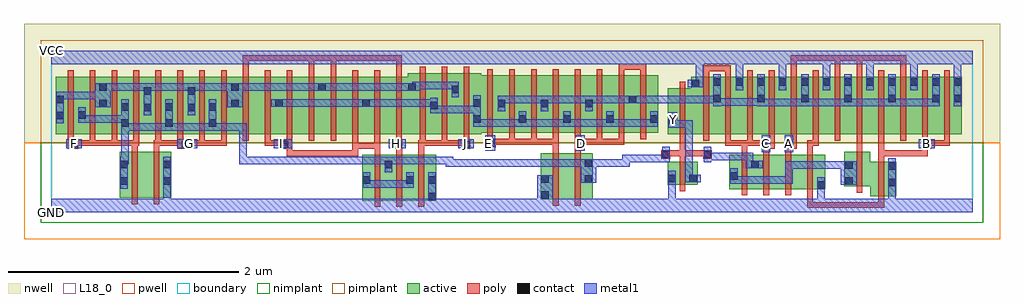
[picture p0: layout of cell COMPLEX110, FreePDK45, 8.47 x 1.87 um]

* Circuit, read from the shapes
.subckt COMPLEX110 A B C D E F G GND H I J VCC Y
M1 n1 F n2 VSUBS nfet w=0.4u l=0.05u
M2 GND G n1 VSUBS nfet w=0.4u l=0.05u
M3 n2 I n3 VSUBS nfet w=0.4u l=0.05u
M4 n3 H n2 VSUBS nfet w=0.4u l=0.05u
M5 GND J n3 VSUBS nfet w=0.4u l=0.05u
M6 n4 E GND VSUBS nfet w=0.4u l=0.05u
M7 n2 D n4 VSUBS nfet w=0.4u l=0.05u
M8 Y n2 GND VSUBS nfet w=0.2u l=0.05u
M9 n2 C n5 VSUBS nfet w=0.3u l=0.05u
M10 n6 C n2 VSUBS nfet w=0.3u l=0.05u
M11 n7 A n6 VSUBS nfet w=0.3u l=0.05u
M12 GND B n7 VSUBS nfet w=0.3u l=0.05u
M13 n8 A n5 VSUBS nfet w=0.3u l=0.05u
M14 GND B n8 VSUBS nfet w=0.3u l=0.05u
M15 n2 F n9 n10 pfet w=0.5u l=0.05u m=4
M16 n2 G n9 n10 pfet w=0.5u l=0.05u m=4
M17 n11 H n9 n10 pfet w=0.5u l=0.05u
M18 n12 I n11 n10 pfet w=0.5u l=0.05u
M19 n13 I n12 n10 pfet w=0.5u l=0.05u
M20 n9 H n13 n10 pfet w=0.5u l=0.05u
M21 n14 H n9 n10 pfet w=0.5u l=0.05u
M22 n12 I n14 n10 pfet w=0.5u l=0.05u
M23 n15 I n12 n10 pfet w=0.5u l=0.05u
M24 n9 H n15 n10 pfet w=0.5u l=0.05u
M25 n12 J n9 n10 pfet w=0.532u l=0.05u m=3
M26 n16 E n12 n10 pfet w=0.5u l=0.05u m=4
M27 n16 D n12 n10 pfet w=0.5u l=0.05u m=4
M28 VCC n2 Y n10 pfet w=0.4u l=0.05u
M29 n16 C VCC n10 pfet w=0.5u l=0.05u m=4
M30 n16 A VCC n10 pfet w=0.5u l=0.05u m=4
M31 VCC B n16 n10 pfet w=0.5u l=0.05u m=4
.ends

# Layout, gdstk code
import gdstk
lib = gdstk.Library(unit=1e-6, precision=1e-09)
def R(c, l, rs):  # rectangles x0, y0, x1, y1
    for r in rs: c.add(gdstk.rectangle(r[:2], r[2:], *l))
def A(c, l, x, y, w, h, nx, ny, dx, dy):  # array of equal rectangles
    R(c, l, [(x+i*dx, y+j*dy, x+i*dx+w, y+j*dy+h) for i in range(nx) for j in range(ny)])
active = (1, 0)
pwell = (2, 0)
nwell = (3, 0)
nimplant = (4, 0)
pimplant = (5, 0)
poly = (9, 0)
contact = (10, 0)
metal1 = (11, 0)
L18_0 = (18, 0)
boundary = (235, 0)

complex110 = lib.new_cell('COMPLEX110')
A(complex110, active, 0.605, 0.675, 0.27, 0.5, 3, 1, 0.38, 0)
A(complex110, active, 0.605, 0.675, 0.075, 0.395, 3, 1, 0.38, 0)
A(complex110, active, 6.69, 0.675, 0.265, 0.5, 6, 1, 0.19, 0)
A(complex110, active, 6.88, 0.675, 0.075, 0.49, 4, 1, 0.19, 0)
R(complex110, active, [(2.702,0.1,2.967,0.5), (2.892,0.1,3.152,0.5), (3.077,0.1,3.342,0.5), (3.267,0.1,3.342,0.5), (4.25,0.112,4.475,0.512), (4.25,0.112,4.325,0.512), (4.475,0.112,4.7,0.512), (0.595,0.125,0.82,0.525), (0.82,0.125,1.045,0.525), (0.97,0.125,1.045,0.525), (7.11,0.137,7.335,0.437), (7.26,0.137,7.335,0.437), (0.595,0.147,0.7,0.525), (2.702,0.147,2.777,0.5), (2.892,0.147,2.967,0.492), (3.077,0.147,3.152,0.492), (4.625,0.147,4.7,0.512), (5.887,0.2,5.962,0.5), (5.887,0.2,6.147,0.5), (6.072,0.2,6.302,0.5), (6.302,0.2,6.492,0.5), (6.492,0.2,6.717,0.5), (6.642,0.2,6.717,0.5), (6.885,0.225,6.96,0.525), (6.885,0.225,7.11,0.525), (5.35,0.237,5.425,0.437), (5.35,0.237,5.61,0.437), (5.535,0.237,5.61,0.437), (6.072,0.247,6.147,0.452), (0.04,0.675,0.115,1.175), (0.04,0.675,0.305,1.175), (0.23,0.675,0.49,1.175), (0.23,0.675,0.305,1.07), (0.415,0.675,0.68,1.175), (0.415,0.675,0.49,1.157), (0.8,0.675,0.875,1.175), (0.8,0.675,1.06,1.175), (1.18,0.675,1.255,1.175), (1.18,0.675,1.44,1.175), (1.56,0.675,1.785,1.175), (1.56,0.675,1.635,1.157), (1.785,0.675,2.015,1.175), (1.94,0.675,2.015,1.07), (1.94,0.675,2.165,1.175), (2.165,0.675,2.39,1.175), (2.315,0.675,2.39,1.175), (2.315,0.675,2.545,1.175), (2.545,0.675,2.77,1.175), (2.695,0.675,2.77,1.07), (2.695,0.675,2.925,1.175), (2.925,0.675,3.17,1.175), (3.095,0.675,3.36,1.207), (3.285,0.675,3.545,1.207), (3.285,0.675,3.36,1.07), (3.47,0.675,3.735,1.207), (3.47,0.675,3.545,1.19), (5.35,0.675,5.63,1.075), (5.35,0.675,5.425,1.057), (5.555,0.675,5.63,1.175), (5.555,0.675,5.815,1.175), (5.74,0.675,5.815,1.165), (5.74,0.675,6.01,1.175), (5.935,0.675,6.2,1.175), (5.935,0.675,6.01,1.165), (6.125,0.675,6.2,1.165), (6.125,0.675,6.385,1.175), (6.31,0.675,6.385,1.165), (6.31,0.675,6.58,1.175), (6.505,0.675,6.58,1.165), (6.505,0.675,6.765,1.175), (6.69,0.675,6.765,1.175), (7.64,0.675,7.715,1.175), (7.83,0.675,7.905,1.175), (3.66,0.687,3.945,1.187), (3.66,0.687,3.735,1.2), (3.87,0.687,4.13,1.187), (3.87,0.687,3.945,1.157), (4.055,0.687,4.32,1.187), (4.055,0.687,4.13,1.07), (4.245,0.687,4.515,1.187), (4.245,0.687,4.32,1.157), (4.44,0.687,4.705,1.187), (4.44,0.687,4.515,1.07), (4.63,0.687,4.89,1.187), (4.815,0.687,5.085,1.187), (4.815,0.687,4.89,1.07), (5.01,0.687,5.27,1.187), (5.01,0.687,5.085,1.157), (5.195,0.687,5.27,1.07), (4.63,0.802,4.705,1.187), (3.095,0.807,3.17,1.2)])
R(complex110, pwell, [(-0.235,-0.235,8.235,0.602)])
R(complex110, nwell, [(-0.235,0.602,8.235,1.635)])
R(complex110, nimplant, [(-0.09,-0.09,8.09,0.602)])
R(complex110, pimplant, [(-0.09,0.602,8.09,1.49)])
A(complex110, poly, 2.807, 0.045, 0.05, 0.51, 3, 1, 0.19, 0)
A(complex110, poly, 5.992, 0.145, 0.05, 0.41, 4, 1, 0.19, 0)
A(complex110, poly, 0.145, 0.575, 0.05, 0.095, 8, 1, 0.19, 0)
A(complex110, poly, 3.2, 0.575, 0.05, 0.095, 3, 1, 0.19, 0)
A(complex110, poly, 5.85, 0.575, 0.05, 0.095, 5, 1, 0.19, 0)
A(complex110, poly, 3.785, 0.587, 0.05, 0.095, 7, 1, 0.19, 0)
A(complex110, poly, 0.145, 0.62, 0.05, 0.61, 16, 1, 0.19, 0)
A(complex110, poly, 3.2, 0.62, 0.05, 0.642, 3, 1, 0.19, 0)
A(complex110, poly, 5.66, 0.62, 0.05, 0.61, 12, 1, 0.19, 0)
A(complex110, poly, 3.785, 0.632, 0.05, 0.61, 8, 1, 0.19, 0)
A(complex110, poly, 6.42, 1.312, 0.24, 0.05, 5, 1, 0.19, 0)
A(complex110, poly, 6.99, 1.312, 0.05, 0.05, 3, 1, 0.19, 0)
R(complex110, poly, [(6.562,0.037,6.612,0.087), (6.562,0.037,6.612,0.087), (6.562,0.037,6.612,0.087), (6.562,0.037,6.792,0.087), (6.562,0.037,6.612,0.195), (6.742,0.037,6.792,0.087), (6.742,0.037,6.792,0.087), (6.742,0.037,6.792,0.087), (6.742,0.037,7.097,0.087), (7.047,0.037,7.097,0.087), (7.047,0.037,7.23,0.087), (7.18,0.037,7.23,0.132), (7.18,0.037,7.23,0.087), (7.18,0.037,7.23,0.087), (7.18,0.037,7.23,0.087), (4.355,0.057,4.405,0.567), (4.545,0.057,4.595,0.567), (0.7,0.07,0.75,0.58), (0.89,0.07,0.94,0.58), (7.18,0.082,7.23,0.492), (6.99,0.17,7.04,0.58), (5.455,0.182,5.505,0.492), (5.455,0.442,5.505,0.537), (7.18,0.442,7.23,0.537), (5.297,0.462,5.372,0.537), (5.66,0.462,5.735,0.537), (2.045,0.487,2.095,0.6), (2.045,0.487,2.342,0.537), (2.292,0.487,2.342,0.537), (2.292,0.487,2.532,0.537), (2.482,0.487,2.532,0.537), (2.482,0.487,2.532,0.537), (2.482,0.487,2.532,0.537), (2.482,0.487,2.665,0.537), (2.615,0.487,2.665,0.6), (5.322,0.487,5.372,0.537), (5.322,0.487,5.372,0.537), (5.322,0.487,5.505,0.537), (5.455,0.487,5.505,0.537), (5.455,0.487,5.505,0.537), (5.455,0.487,5.505,0.537), (5.455,0.487,5.505,0.67), (5.455,0.487,5.71,0.537), (5.66,0.487,5.71,0.537), (5.66,0.487,5.71,0.537), (7.18,0.487,7.23,0.537), (7.18,0.487,7.477,0.537), (7.18,0.487,7.23,0.67), (7.427,0.487,7.477,0.537), (7.427,0.487,7.477,0.537), (7.427,0.487,7.477,0.537), (7.427,0.487,7.61,0.537), (7.56,0.487,7.61,0.6), (2.807,0.505,2.857,0.6), (2.997,0.505,3.047,0.6), (3.187,0.505,3.237,0.625), (5.992,0.505,6.042,0.625), (6.182,0.505,6.232,0.6), (6.372,0.505,6.422,0.6), (6.562,0.505,6.612,0.625), (4.355,0.517,4.405,0.637), (4.545,0.517,4.595,0.612), (0.7,0.53,0.75,0.625), (0.89,0.53,0.94,0.625), (6.99,0.53,7.04,0.625), (0.145,0.55,0.237,0.625), (1.095,0.55,1.202,0.625), (1.987,0.55,2.095,0.625), (2.045,0.55,2.095,0.6), (2.615,0.55,2.665,0.6), (2.615,0.55,2.665,0.6), (2.615,0.55,2.855,0.6), (2.615,0.55,2.665,0.67), (2.805,0.55,2.855,0.6), (2.805,0.55,2.855,0.6), (2.805,0.55,2.855,0.67), (2.805,0.55,2.857,0.6), (2.972,0.55,3.047,0.625), (3.562,0.55,3.637,0.625), (6.172,0.55,6.28,0.625), (6.372,0.55,6.47,0.625), (7.56,0.55,7.61,0.6), (7.56,0.55,7.637,0.625), (3.785,0.562,3.86,0.637), (4.545,0.562,4.622,0.637), (0.187,0.575,0.385,0.625), (0.335,0.575,0.385,0.625), (0.335,0.575,0.385,0.625), (0.335,0.575,0.385,0.625), (0.335,0.575,0.575,0.625), (0.525,0.575,0.575,0.625), (0.525,0.575,0.575,0.625), (0.525,0.575,0.575,0.625), (0.525,0.575,0.75,0.625), (0.7,0.575,0.75,0.625), (0.7,0.575,0.75,0.625), (0.7,0.575,0.765,0.625), (0.89,0.575,0.955,0.625), (0.905,0.575,0.955,0.625), (0.905,0.575,0.955,0.625), (0.905,0.575,1.145,0.625), (1.152,0.575,1.335,0.625), (1.285,0.575,1.335,0.625), (1.285,0.575,1.335,0.625), (1.285,0.575,1.335,0.625), (1.285,0.575,1.525,0.625), (1.475,0.575,1.525,0.625), (1.475,0.575,1.525,0.625), (1.475,0.575,1.525,0.625), (1.855,0.575,1.905,0.67), (1.855,0.575,1.905,0.625), (1.855,0.575,1.905,0.625), (1.855,0.575,1.905,0.625), (1.855,0.575,2.037,0.625), (2.045,0.575,2.095,0.67), (2.995,0.575,3.045,0.67), (3.187,0.575,3.25,0.625), (3.2,0.575,3.44,0.625), (3.39,0.575,3.44,0.625), (3.39,0.575,3.44,0.625), (3.39,0.575,3.44,0.625), (3.39,0.575,3.612,0.625), (3.562,0.575,3.612,0.625), (3.562,0.575,3.612,0.625), (5.85,0.575,5.9,0.625), (5.85,0.575,6.042,0.625), (5.992,0.575,6.042,0.625), (5.992,0.575,6.042,0.625), (5.992,0.575,6.09,0.625), (6.04,0.575,6.222,0.625), (6.172,0.575,6.222,0.625), (6.172,0.575,6.222,0.625), (6.562,0.575,6.66,0.625), (6.99,0.575,7.04,0.67), (6.99,0.575,7.04,0.625), (7.56,0.575,7.61,0.67), (7.587,0.575,7.8,0.625), (7.75,0.575,7.8,0.67), (7.75,0.575,7.8,0.625), (7.75,0.575,7.8,0.625), (7.75,0.575,7.8,0.625), (3.81,0.587,4.025,0.637), (3.975,0.587,4.025,0.637), (3.975,0.587,4.025,0.637), (3.975,0.587,4.025,0.637), (3.975,0.587,4.215,0.637), (4.165,0.587,4.215,0.637), (4.165,0.587,4.215,0.637), (4.165,0.587,4.215,0.637), (4.165,0.587,4.405,0.637), (4.355,0.587,4.405,0.637), (4.355,0.587,4.405,0.637), (4.355,0.587,4.405,0.637), (4.572,0.587,4.785,0.637), (4.735,0.587,4.785,0.637), (4.735,0.587,4.785,0.637), (4.735,0.587,4.785,0.637), (4.735,0.587,4.975,0.637), (4.925,0.587,4.975,0.637), (4.925,0.587,4.975,0.637), (4.925,0.587,4.975,0.637), (5.455,0.62,5.505,1.13), (1.665,1.18,1.715,1.362), (2.235,1.18,2.285,1.362), (2.425,1.18,2.475,1.362), (2.995,1.18,3.045,1.362), (5.66,1.18,5.71,1.275), (5.85,1.18,5.9,1.275), (6.42,1.18,6.47,1.362), (6.8,1.18,6.85,1.362), (6.99,1.18,7.04,1.362), (7.37,1.18,7.42,1.362), (4.925,1.192,4.975,1.287), (5.115,1.192,5.165,1.287), (5.66,1.225,5.71,1.275), (5.66,1.225,5.9,1.275), (5.85,1.225,5.9,1.275), (5.85,1.225,5.9,1.275), (5.85,1.225,5.9,1.275), (4.925,1.237,4.975,1.287), (4.925,1.237,5.165,1.287), (5.115,1.237,5.165,1.287), (5.115,1.237,5.165,1.287), (5.115,1.237,5.165,1.287), (1.665,1.312,1.715,1.362), (1.665,1.312,1.715,1.362), (1.665,1.312,1.715,1.362), (1.665,1.312,1.905,1.362), (1.855,1.312,1.905,1.362), (1.855,1.312,1.905,1.362), (1.855,1.312,1.905,1.362), (1.855,1.312,2.037,1.362), (1.987,1.312,2.037,1.362), (1.987,1.312,2.285,1.362), (2.235,1.312,2.285,1.362), (2.235,1.312,2.285,1.362), (2.235,1.312,2.285,1.362), (2.235,1.312,2.475,1.362), (2.425,1.312,2.475,1.362), (2.425,1.312,2.475,1.362), (2.425,1.312,2.475,1.362), (2.425,1.312,2.722,1.362), (2.672,1.312,2.722,1.362), (2.672,1.312,2.722,1.362), (2.672,1.312,2.722,1.362), (2.672,1.312,2.89,1.362), (2.84,1.312,2.89,1.362), (2.84,1.312,2.89,1.362), (2.84,1.312,2.89,1.362), (2.84,1.312,3.045,1.362), (2.995,1.312,3.045,1.362), (2.995,1.312,3.045,1.362), (2.995,1.312,3.045,1.362), (6.42,1.312,6.47,1.362), (6.42,1.312,6.47,1.362), (6.42,1.312,6.47,1.362), (6.61,1.312,6.66,1.362), (6.61,1.312,6.66,1.362), (6.61,1.312,6.66,1.362), (6.8,1.312,6.85,1.362), (6.8,1.312,6.85,1.362), (6.8,1.312,6.85,1.362), (6.99,1.312,7.04,1.362), (6.99,1.312,7.04,1.362), (7.37,1.312,7.42,1.362), (7.37,1.312,7.42,1.362)])
A(complex110, contact, 0.61, 0.74, 0.065, 0.065, 3, 2, 0.38, 0.14)
A(complex110, contact, 6.885, 0.955, 0.065, 0.065, 3, 1, 0.38, 0)
A(complex110, contact, 6.695, 1.095, 0.065, 0.065, 7, 1, 0.19, 0)
R(complex110, contact, [(3.272,0.105,3.337,0.17), (4.255,0.117,4.32,0.182), (6.647,0.205,6.712,0.27), (7.265,0.227,7.33,0.292), (6.89,0.237,6.955,0.302), (0.6,0.24,0.665,0.305), (0.975,0.24,1.04,0.305), (2.707,0.245,2.772,0.31), (3.082,0.245,3.147,0.31), (3.272,0.245,3.337,0.31), (4.63,0.255,4.695,0.32), (4.255,0.257,4.32,0.322), (5.355,0.26,5.42,0.325), (5.54,0.26,5.605,0.325), (5.892,0.28,5.957,0.345), (7.265,0.367,7.33,0.432), (6.89,0.377,6.955,0.442), (0.6,0.38,0.665,0.445), (0.975,0.38,1.04,0.445), (2.897,0.382,2.962,0.447), (6.077,0.382,6.142,0.447), (4.63,0.395,4.695,0.46), (5.302,0.467,5.367,0.532), (5.665,0.467,5.73,0.532), (0.167,0.555,0.232,0.62), (1.132,0.555,1.197,0.62), (1.992,0.555,2.057,0.62), (2.977,0.555,3.042,0.62), (3.567,0.555,3.632,0.62), (6.177,0.555,6.242,0.62), (6.377,0.555,6.442,0.62), (7.567,0.555,7.632,0.62), (3.79,0.567,3.855,0.632), (4.552,0.567,4.617,0.632), (5.355,0.767,5.42,0.832), (3.665,0.775,3.73,0.84), (4.06,0.775,4.125,0.84), (4.445,0.775,4.51,0.84), (4.82,0.775,4.885,0.84), (5.2,0.775,5.265,0.84), (0.045,0.807,0.11,0.872), (0.235,0.81,0.3,0.875), (0.805,0.877,0.87,0.942), (1.185,0.877,1.25,0.942), (3.29,0.895,3.355,0.96), (0.42,0.912,0.485,0.977), (1.565,0.912,1.63,0.977), (3.875,0.912,3.94,0.977), (4.25,0.912,4.315,0.977), (4.635,0.912,4.7,0.977), (1.945,0.915,2.01,0.98), (2.7,0.915,2.765,0.98), (3.665,0.915,3.73,0.98), (0.045,0.947,0.11,1.012), (5.015,0.947,5.08,1.012), (5.745,0.955,5.81,1.02), (6.13,0.955,6.195,1.02), (6.51,0.955,6.575,1.02), (7.835,0.955,7.9,1.02), (0.805,1.017,0.87,1.082), (1.185,1.017,1.25,1.082), (3.475,1.032,3.54,1.097), (0.42,1.052,0.485,1.117), (1.565,1.052,1.63,1.117), (2.32,1.052,2.385,1.117), (3.1,1.052,3.165,1.117), (5.56,1.085,5.625,1.15), (5.745,1.095,5.81,1.16), (5.94,1.095,6.005,1.16), (6.13,1.095,6.195,1.16), (6.315,1.095,6.38,1.16), (6.51,1.095,6.575,1.16)])
A(complex110, metal1, 0.61, 0.705, 0.065, 0.275, 3, 1, 0.38, 0)
A(complex110, metal1, 6.885, 0.92, 0.065, 0.275, 3, 1, 0.38, 0)
A(complex110, metal1, 6.315, 1.06, 0.065, 0.135, 4, 1, 0.38, 0)
A(complex110, metal1, 6.315, 1.13, 0.065, 0.22, 5, 1, 0.38, 0)
R(complex110, metal1, [(0,0,8,0.115), (0.975,0.05,1.04,0.27), (3.272,0.05,3.337,0.135), (4.29,0.05,4.355,0.182), (5.355,0.05,5.42,0.115), (5.355,0.05,5.42,0.115), (5.355,0.05,5.42,0.29), (6.647,0.05,6.712,0.115), (6.647,0.05,6.712,0.115), (6.647,0.05,6.712,0.235), (7.265,0.05,7.33,0.115), (7.265,0.05,7.33,0.115), (7.265,0.05,7.33,0.257), (3.272,0.07,3.337,0.345), (4.22,0.117,4.355,0.322), (6.647,0.17,6.712,0.305), (7.265,0.192,7.33,0.467), (0.6,0.205,0.665,0.48), (0.975,0.205,1.04,0.48), (2.707,0.21,2.772,0.275), (2.707,0.21,2.772,0.275), (2.707,0.21,2.772,0.345), (2.707,0.21,2.975,0.275), (2.91,0.21,2.975,0.275), (2.91,0.21,2.975,0.275), (2.91,0.21,2.975,0.275), (2.91,0.21,3.147,0.275), (3.082,0.21,3.147,0.345), (5.355,0.225,5.42,0.29), (5.355,0.225,5.42,0.29), (5.355,0.225,5.42,0.29), (5.355,0.225,5.42,0.29), (5.355,0.225,5.42,0.36), (6.855,0.237,6.99,0.442), (5.892,0.245,6.095,0.31), (5.892,0.245,5.957,0.38), (6.03,0.245,6.095,0.31), (6.03,0.245,6.242,0.31), (6.177,0.245,6.242,0.31), (6.177,0.245,6.242,0.31), (6.177,0.245,6.242,0.31), (6.177,0.245,6.437,0.31), (6.372,0.245,6.437,0.442), (4.595,0.255,4.73,0.46), (5.505,0.26,5.57,0.325), (5.505,0.26,5.57,0.325), (5.505,0.26,5.64,0.325), (5.505,0.26,5.57,0.797), (2.897,0.347,2.962,0.482), (6.372,0.377,6.437,0.442), (6.372,0.377,6.437,0.442), (6.372,0.377,6.575,0.442), (6.51,0.377,6.575,0.442), (6.51,0.377,6.575,0.442), (6.51,0.377,6.575,0.442), (6.51,0.377,6.782,0.442), (6.717,0.377,6.782,0.442), (6.717,0.377,6.92,0.442), (6.855,0.377,6.92,0.442), (6.855,0.377,6.92,0.442), (6.03,0.382,6.095,0.517), (6.03,0.382,6.177,0.447), (3.427,0.395,3.63,0.46), (3.427,0.395,3.492,0.482), (3.565,0.395,3.63,0.46), (3.565,0.395,3.63,0.46), (3.565,0.395,3.63,0.46), (3.565,0.395,3.867,0.46), (3.802,0.395,3.867,0.46), (3.802,0.395,3.867,0.46), (3.802,0.395,3.867,0.46), (3.802,0.395,4.125,0.46), (4.06,0.395,4.125,0.46), (4.06,0.395,4.125,0.46), (4.06,0.395,4.125,0.46), (4.06,0.395,4.315,0.46), (4.25,0.395,4.315,0.46), (4.25,0.395,4.315,0.46), (4.25,0.395,4.315,0.46), (4.25,0.395,4.452,0.46), (4.387,0.395,4.452,0.46), (4.387,0.395,4.452,0.46), (4.387,0.395,4.452,0.46), (4.387,0.395,4.66,0.46), (4.665,0.395,4.73,0.46), (4.665,0.395,4.73,0.46), (4.665,0.395,4.867,0.46), (4.802,0.395,4.867,0.46), (4.802,0.395,4.867,0.46), (4.802,0.395,4.867,0.46), (4.802,0.395,5.022,0.46), (4.957,0.395,5.022,0.46), (4.957,0.395,5.022,0.497), (0.6,0.415,0.665,0.48), (0.6,0.415,0.665,0.48), (0.6,0.415,0.665,0.48), (0.6,0.415,0.675,0.48), (0.61,0.415,0.675,0.77), (1.635,0.417,1.7,0.482), (1.635,0.417,1.7,0.482), (1.635,0.417,1.7,0.482), (1.635,0.417,1.7,0.482), (1.635,0.417,1.7,0.482), (1.635,0.417,1.837,0.482), (1.635,0.417,1.7,0.77), (1.772,0.417,1.837,0.482), (1.772,0.417,1.837,0.482), (1.772,0.417,1.837,0.482), (1.772,0.417,2.045,0.482), (1.98,0.417,2.045,0.482), (1.98,0.417,2.045,0.482), (1.98,0.417,2.045,0.482), (1.98,0.417,2.192,0.482), (2.127,0.417,2.192,0.482), (2.127,0.417,2.192,0.482), (2.127,0.417,2.192,0.482), (2.127,0.417,2.43,0.482), (2.365,0.417,2.43,0.482), (2.365,0.417,2.43,0.482), (2.365,0.417,2.43,0.482), (2.365,0.417,2.567,0.482), (2.502,0.417,2.567,0.482), (2.502,0.417,2.567,0.482), (2.502,0.417,2.567,0.482), (2.502,0.417,2.705,0.482), (2.64,0.417,2.705,0.482), (2.64,0.417,2.705,0.482), (2.64,0.417,2.705,0.482), (2.64,0.417,2.962,0.482), (2.897,0.417,2.962,0.482), (2.897,0.417,2.962,0.482), (2.897,0.417,3.2,0.482), (3.135,0.417,3.2,0.482), (3.135,0.417,3.2,0.482), (3.135,0.417,3.2,0.482), (3.135,0.417,3.337,0.482), (3.272,0.417,3.337,0.482), (3.272,0.417,3.337,0.482), (3.272,0.417,3.337,0.482), (3.272,0.417,3.492,0.482), (3.427,0.417,3.492,0.482), (3.427,0.417,3.492,0.482), (4.957,0.432,5.022,0.497), (4.957,0.432,5.367,0.497), (5.302,0.432,5.367,0.567), (5.665,0.432,5.73,0.567), (5.665,0.452,5.73,0.517), (5.665,0.452,5.73,0.517), (5.665,0.452,5.957,0.517), (5.892,0.452,5.957,0.517), (5.892,0.452,5.957,0.517), (5.892,0.452,5.957,0.517), (5.892,0.452,6.095,0.517), (6.03,0.452,6.095,0.517), (6.03,0.452,6.095,0.517), (6.03,0.452,6.095,0.517), (6.167,0.52,6.242,0.667), (6.367,0.52,6.442,0.667), (3.767,0.532,3.855,0.667), (4.552,0.532,4.632,0.667), (0.132,0.555,0.267,0.632), (1.097,0.555,1.267,0.632), (1.932,0.555,2.092,0.632), (2.932,0.555,3.077,0.632), (3.532,0.555,3.667,0.632), (7.532,0.555,7.667,0.632), (0.61,0.705,0.675,0.77), (0.61,0.705,0.675,0.77), (0.61,0.705,0.675,0.77), (0.61,0.705,0.675,0.77), (0.61,0.705,0.812,0.77), (0.747,0.705,0.812,0.77), (0.747,0.705,0.812,0.77), (0.747,0.705,0.812,0.77), (0.747,0.705,1.055,0.77), (0.99,0.705,1.192,0.77), (1.127,0.705,1.192,0.77), (1.127,0.705,1.192,0.77), (1.127,0.705,1.192,0.77), (1.127,0.705,1.425,0.77), (1.36,0.705,1.425,0.77), (1.36,0.705,1.435,0.77), (1.37,0.705,1.562,0.77), (1.497,0.705,1.562,0.77), (1.497,0.705,1.7,0.77), (1.635,0.705,1.7,0.77), (1.635,0.705,1.7,0.77), (1.635,0.705,1.7,0.77), (1.635,0.705,1.7,0.77), (1.635,0.705,1.7,0.77), (5.355,0.732,5.432,0.867), (5.367,0.732,5.57,0.797), (5.505,0.732,5.57,0.797), (5.505,0.732,5.57,0.797), (5.505,0.732,5.57,0.797), (5.505,0.732,5.57,0.797), (5.505,0.732,5.57,0.797), (3.665,0.74,3.73,0.805), (3.665,0.74,3.73,0.805), (3.665,0.74,3.73,1.015), (3.665,0.74,3.987,0.805), (3.922,0.74,3.987,0.805), (3.922,0.74,3.987,0.805), (3.922,0.74,3.987,0.805), (3.922,0.74,4.125,0.805), (4.06,0.74,4.125,0.805), (4.06,0.74,4.125,0.805), (4.06,0.74,4.125,0.875), (4.06,0.74,4.262,0.805), (4.197,0.74,4.262,0.805), (4.197,0.74,4.262,0.805), (4.197,0.74,4.262,0.805), (4.197,0.74,4.51,0.805), (4.445,0.74,4.51,0.805), (4.445,0.74,4.51,0.805), (4.445,0.74,4.51,0.875), (4.445,0.74,4.66,0.805), (4.595,0.74,4.66,0.805), (4.595,0.74,4.66,0.805), (4.595,0.74,4.66,0.805), (4.595,0.74,4.885,0.805), (4.82,0.74,4.885,0.805), (4.82,0.74,4.885,0.805), (4.82,0.74,4.885,0.875), (4.82,0.74,5.127,0.805), (5.062,0.74,5.127,0.805), (5.062,0.74,5.127,0.805), (5.062,0.74,5.127,0.805), (5.062,0.74,5.265,0.805), (5.2,0.74,5.265,0.875), (0.045,0.772,0.11,1.047), (0.235,0.775,0.3,0.84), (0.235,0.775,0.3,0.84), (0.235,0.775,0.3,0.91), (0.235,0.775,0.45,0.84), (0.385,0.775,0.45,0.84), (0.385,0.775,0.45,0.84), (0.385,0.775,0.45,0.84), (0.385,0.775,0.675,0.84), (0.805,0.842,0.87,1.117), (1.185,0.842,1.25,1.117), (3.29,0.86,3.355,0.925), (3.29,0.86,3.355,0.925), (3.29,0.86,3.355,0.995), (3.29,0.86,3.492,0.925), (3.427,0.86,3.492,0.925), (3.427,0.86,3.492,0.925), (3.427,0.86,3.492,0.925), (3.427,0.86,3.73,0.925), (3.875,0.877,3.94,1.012), (4.25,0.877,4.315,1.012), (4.635,0.877,4.7,1.012), (0.385,0.912,0.52,1.117), (1.53,0.912,1.665,1.117), (1.91,0.915,2.045,0.98), (1.98,0.915,2.045,0.98), (1.98,0.915,2.045,0.98), (1.98,0.915,2.182,0.98), (2.117,0.915,2.182,0.98), (2.117,0.915,2.182,0.98), (2.117,0.915,2.182,0.98), (2.117,0.915,2.33,0.98), (2.265,0.915,2.33,0.98), (2.265,0.915,2.33,0.98), (2.265,0.915,2.33,0.98), (2.265,0.915,2.567,0.98), (2.502,0.915,2.567,0.98), (2.502,0.915,2.567,0.98), (2.502,0.915,2.567,0.98), (2.502,0.915,2.73,0.98), (2.665,0.915,2.8,0.98), (2.735,0.915,2.8,0.98), (2.735,0.915,2.8,0.98), (2.735,0.915,2.937,0.98), (2.872,0.915,2.937,0.98), (2.872,0.915,2.937,0.98), (2.872,0.915,2.937,0.98), (2.872,0.915,3.2,0.98), (3.135,0.915,3.2,0.98), (3.135,0.915,3.2,0.98), (3.135,0.915,3.2,0.98), (3.135,0.915,3.355,0.98), (5.745,0.92,5.81,1.195), (6.13,0.92,6.195,1.195), (6.13,0.92,6.232,0.985), (6.167,0.92,6.232,0.985), (6.167,0.92,6.437,0.985), (6.372,0.92,6.437,0.985), (6.372,0.92,6.437,0.985), (6.372,0.92,6.437,0.985), (6.372,0.92,6.575,0.985), (6.51,0.92,6.575,0.985), (6.51,0.92,6.575,0.985), (6.51,0.92,6.575,1.195), (6.51,0.92,6.712,0.985), (6.647,0.92,6.712,0.985), (6.647,0.92,6.95,0.985), (6.885,0.92,6.95,0.985), (6.885,0.92,6.95,0.985), (6.885,0.92,7.087,0.985), (7.022,0.92,7.087,0.985), (7.022,0.92,7.087,0.985), (7.022,0.92,7.087,0.985), (7.022,0.92,7.322,0.985), (7.257,0.92,7.322,0.985), (7.257,0.92,7.33,0.985), (7.265,0.92,7.46,0.985), (7.395,0.92,7.46,0.985), (7.395,0.92,7.572,0.985), (7.507,0.92,7.572,0.985), (7.507,0.92,7.71,0.985), (7.645,0.92,7.71,0.985), (7.645,0.92,7.71,0.985), (7.835,0.92,7.9,1.195), (5.745,0.922,5.947,0.987), (5.882,0.922,5.947,0.987), (5.882,0.922,5.947,0.987), (5.882,0.922,5.947,0.987), (5.882,0.922,6.095,0.987), (6.03,0.922,6.095,0.987), (6.03,0.922,6.195,0.987), (3.875,0.947,3.94,1.012), (3.875,0.947,3.94,1.012), (3.875,0.947,4.125,1.012), (4.06,0.947,4.125,1.012), (4.06,0.947,4.125,1.012), (4.06,0.947,4.125,1.012), (4.06,0.947,4.315,1.012), (4.25,0.947,4.315,1.012), (4.25,0.947,4.315,1.012), (4.25,0.947,4.522,1.012), (4.457,0.947,4.522,1.012), (4.457,0.947,4.522,1.012), (4.457,0.947,4.522,1.012), (4.457,0.947,4.7,1.012), (4.635,0.947,4.7,1.012), (4.635,0.947,4.7,1.012), (4.635,0.947,4.867,1.012), (4.802,0.947,4.867,1.012), (4.802,0.947,4.867,1.012), (4.802,0.947,4.867,1.012), (4.802,0.947,5.045,1.012), (4.98,0.947,5.115,1.012), (5.05,0.947,5.115,1.012), (5.05,0.947,5.115,1.012), (5.05,0.947,5.115,1.012), (5.05,0.947,5.115,1.012), (5.05,0.947,5.265,1.012), (5.2,0.947,5.265,1.012), (5.2,0.947,5.265,1.012), (5.2,0.947,5.265,1.012), (5.2,0.947,5.592,1.012), (5.527,0.947,5.592,1.012), (5.527,0.947,5.592,1.012), (5.527,0.947,5.592,1.012), (5.527,0.947,5.81,1.012), (5.745,0.947,5.81,1.012), (5.745,0.947,5.81,1.012), (0.045,0.982,0.11,1.047), (0.045,0.982,0.11,1.047), (0.045,0.982,0.312,1.047), (0.247,0.982,0.312,1.047), (0.247,0.982,0.312,1.047), (0.247,0.982,0.312,1.047), (0.247,0.982,0.45,1.047), (3.475,0.997,3.54,1.132), (0.455,1.052,0.52,1.117), (0.455,1.052,0.52,1.117), (0.455,1.052,0.657,1.117), (0.592,1.052,0.657,1.117), (0.592,1.052,0.657,1.117), (0.592,1.052,0.657,1.117), (0.592,1.052,0.87,1.117), (0.805,1.052,0.87,1.117), (0.805,1.052,0.87,1.117), (0.805,1.052,1.055,1.117), (0.99,1.052,1.055,1.117), (0.99,1.052,1.25,1.117), (1.185,1.052,1.25,1.117), (1.185,1.052,1.25,1.117), (1.185,1.052,1.387,1.117), (1.322,1.052,1.387,1.117), (1.322,1.052,1.387,1.117), (1.322,1.052,1.387,1.117), (1.322,1.052,1.562,1.117), (1.497,1.052,1.562,1.117), (1.497,1.052,1.595,1.117), (1.6,1.052,1.7,1.117), (1.635,1.052,1.7,1.117), (1.635,1.052,1.837,1.117), (1.772,1.052,1.837,1.117), (1.772,1.052,1.837,1.117), (1.772,1.052,1.837,1.117), (1.772,1.052,1.837,1.117), (1.772,1.052,1.837,1.117), (1.772,1.052,2.045,1.117), (1.98,1.052,2.045,1.117), (1.98,1.052,2.045,1.117), (1.98,1.052,2.045,1.117), (1.98,1.052,2.182,1.117), (2.117,1.052,2.182,1.117), (2.117,1.052,2.182,1.117), (2.117,1.052,2.182,1.117), (2.117,1.052,2.35,1.117), (2.285,1.052,2.42,1.117), (2.355,1.052,2.43,1.117), (2.365,1.052,2.43,1.117), (2.365,1.052,2.567,1.117), (2.502,1.052,2.567,1.117), (2.502,1.052,2.567,1.117), (2.502,1.052,2.567,1.117), (2.502,1.052,2.8,1.117), (2.735,1.052,2.8,1.117), (2.735,1.052,2.8,1.117), (2.735,1.052,2.8,1.117), (2.735,1.052,2.937,1.117), (2.872,1.052,2.937,1.117), (2.872,1.052,2.937,1.117), (2.872,1.052,2.937,1.117), (2.872,1.052,3.13,1.117), (3.065,1.052,3.2,1.117), (3.135,1.052,3.2,1.117), (3.135,1.052,3.2,1.132), (5.94,1.06,6.005,1.195), (3.135,1.067,3.355,1.132), (3.29,1.067,3.355,1.132), (3.29,1.067,3.355,1.132), (3.29,1.067,3.355,1.132), (3.29,1.067,3.54,1.132), (5.525,1.085,5.66,1.15), (5.595,1.085,5.66,1.35), (5.94,1.13,6.005,1.195), (5.94,1.13,6.005,1.195), (5.94,1.13,6.005,1.35), (6.315,1.13,6.38,1.195), (6.315,1.13,6.38,1.195), (6.695,1.13,6.76,1.195), (6.695,1.13,6.76,1.195), (7.835,1.13,7.9,1.195), (7.835,1.13,7.9,1.195), (0,1.285,8,1.4), (5.595,1.285,5.66,1.35), (5.595,1.285,5.66,1.35), (7.075,1.285,7.14,1.35), (7.075,1.285,7.14,1.35), (7.455,1.285,7.52,1.35), (7.455,1.285,7.52,1.35)])
A(complex110, L18_0, 6.315, 1.06, 0.065, 0.135, 4, 1, 0.38, 0)
A(complex110, L18_0, 6.315, 1.13, 0.065, 0.22, 5, 1, 0.38, 0)
R(complex110, L18_0, [(0,0,8,0.115), (0.975,0.05,1.04,0.27), (3.272,0.05,3.337,0.135), (4.29,0.05,4.355,0.182), (5.355,0.05,5.42,0.115), (5.355,0.05,5.42,0.115), (5.355,0.05,5.42,0.29), (6.647,0.05,6.712,0.115), (6.647,0.05,6.712,0.115), (6.647,0.05,6.712,0.235), (7.265,0.05,7.33,0.115), (7.265,0.05,7.33,0.115), (7.265,0.05,7.33,0.257), (3.272,0.07,3.337,0.345), (4.22,0.117,4.355,0.322), (6.647,0.17,6.712,0.305), (7.265,0.192,7.33,0.467), (0.975,0.205,1.04,0.48), (5.355,0.225,5.42,0.29), (5.355,0.225,5.42,0.29), (5.355,0.225,5.42,0.29), (5.355,0.225,5.42,0.29), (5.355,0.225,5.42,0.36), (5.505,0.26,5.57,0.325), (5.505,0.26,5.57,0.325), (5.505,0.26,5.64,0.325), (5.505,0.26,5.57,0.797), (6.167,0.52,6.242,0.667), (6.367,0.52,6.442,0.667), (3.767,0.532,3.855,0.667), (4.552,0.532,4.632,0.667), (0.132,0.555,0.267,0.632), (1.097,0.555,1.267,0.632), (1.932,0.555,2.092,0.632), (2.932,0.555,3.077,0.632), (3.532,0.555,3.667,0.632), (7.532,0.555,7.667,0.632), (0.167,0.567,0.232,0.632), (1.167,0.567,1.232,0.632), (1.967,0.567,2.032,0.632), (2.967,0.567,3.032,0.632), (3.567,0.567,3.632,0.632), (3.767,0.567,3.832,0.632), (4.567,0.567,4.632,0.632), (6.167,0.567,6.232,0.632), (6.367,0.567,6.432,0.632), (7.567,0.567,7.632,0.632), (5.355,0.732,5.432,0.867), (5.367,0.732,5.57,0.797), (5.505,0.732,5.57,0.797), (5.505,0.732,5.57,0.797), (5.505,0.732,5.57,0.797), (5.505,0.732,5.57,0.797), (5.505,0.732,5.57,0.797), (5.367,0.767,5.432,0.832), (7.835,0.92,7.9,1.195), (5.94,1.06,6.005,1.195), (5.525,1.085,5.66,1.15), (5.595,1.085,5.66,1.35), (5.94,1.13,6.005,1.35), (5.94,1.13,6.005,1.195), (5.94,1.13,6.005,1.195), (6.315,1.13,6.38,1.195), (6.315,1.13,6.38,1.195), (6.695,1.13,6.76,1.195), (6.695,1.13,6.76,1.195), (7.835,1.13,7.9,1.195), (7.835,1.13,7.9,1.195), (0,1.285,8,1.4), (5.595,1.285,5.66,1.35), (5.595,1.285,5.66,1.35), (7.075,1.285,7.14,1.35), (7.075,1.285,7.14,1.35), (7.455,1.285,7.52,1.35), (7.455,1.285,7.52,1.35)])
R(complex110, boundary, [(0,0,8,1.4)])
complex110.add(gdstk.Label('A', (6.4,0.6), layer=11, texttype=0))
complex110.add(gdstk.Label('B', (7.6,0.6), layer=11, texttype=0))
complex110.add(gdstk.Label('C', (6.2,0.6), layer=11, texttype=0))
complex110.add(gdstk.Label('D', (4.6,0.6), layer=11, texttype=0))
complex110.add(gdstk.Label('E', (3.8,0.6), layer=11, texttype=0))
complex110.add(gdstk.Label('F', (0.2,0.6), layer=11, texttype=0))
complex110.add(gdstk.Label('G', (1.2,0.6), layer=11, texttype=0))
complex110.add(gdstk.Label('H', (3,0.6), layer=11, texttype=0))
complex110.add(gdstk.Label('I', (2,0.6), layer=11, texttype=0))
complex110.add(gdstk.Label('J', (3.6,0.6), layer=11, texttype=0))
complex110.add(gdstk.Label('Y', (5.4,0.8), layer=11, texttype=0))
complex110.add(gdstk.Label('VCC', (0,1.4), layer=11, texttype=0))
complex110.add(gdstk.Label('GND', (0,0), layer=11, texttype=0))

lib.write_gds('COMPLEX110.gds')
